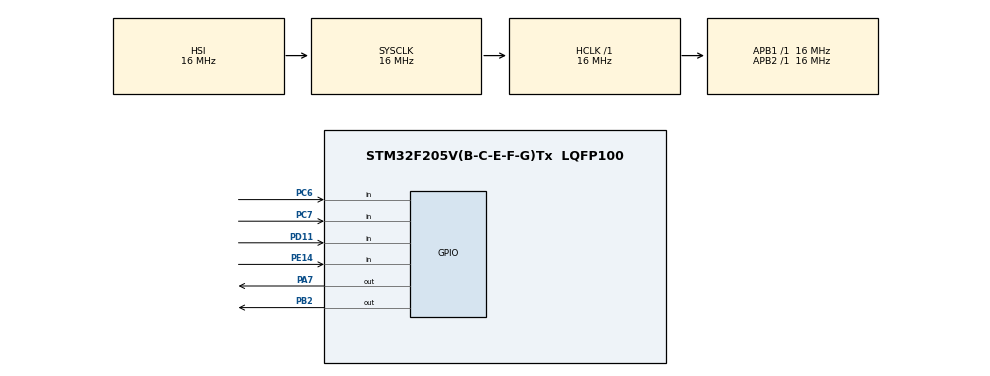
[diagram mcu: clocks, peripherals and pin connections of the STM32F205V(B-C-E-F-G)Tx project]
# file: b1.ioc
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Mcu.Family=STM32F2
Mcu.Name=STM32F205V(B-C-E-F-G)Tx
Mcu.Package=LQFP100
NVIC.PriorityGroup=NVIC_PRIORITYGROUP_4
PA13.Mode=Serial_Wire
PA13.Signal=SYS_JTMS-SWDIO
PA14.Mode=Serial_Wire
PA14.Signal=SYS_JTCK-SWCLK
PA7.Signal=GPIO_Output
PB2.Signal=GPIO_Output
PC6.Signal=GPIO_Input
PC7.Signal=GPIO_Input
PD11.Signal=GPIO_Input
PE14.Signal=GPIO_Input
ProjectManager.HeapSize=0x200
ProjectManager.StackSize=0x400
ProjectManager.TargetToolchain=MDK-ARM V5.32
RCC.48MHZClocksFreq_Value=48000000
RCC.AHBFreq_Value=16000000
RCC.APB1Freq_Value=16000000
RCC.APB2Freq_Value=16000000
RCC.CortexFreq_Value=16000000
RCC.HSE_VALUE=25000000
RCC.HSI_VALUE=16000000
RCC.LSE_VALUE=32768
RCC.SYSCLKFreq_VALUE=16000000
RCC.VCOOutputFreq_Value=192000000
board=custom

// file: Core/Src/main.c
/* USER CODE BEGIN Header */
/**
  ******************************************************************************
  * @file           : main.c
  * @brief          : Main program body
  ******************************************************************************
  * @attention
  *
  * Copyright (c) 2023 STMicroelectronics.
  * All rights reserved.
  *
  * This software is licensed under terms that can be found in the LICENSE file
  * in the root directory of this software component.
  * If no LICENSE file comes with this software, it is provided AS-IS.
  *
  ******************************************************************************
  */
/* USER CODE END Header */
#include "main.h"

void SystemClock_Config(void);
static void MX_GPIO_Init(void);

int main(void)
{

  /* MCU Configuration--------------------------------------------------------*/

  /* Reset of all peripherals, Initializes the Flash interface and the Systick. */
  HAL_Init();

  /* Configure the system clock */
  SystemClock_Config();

  /* Initialize all configured peripherals */
  MX_GPIO_Init();
  /* USER CODE BEGIN 2 */
	int sysState2 = 0;
	int cntDelay = 0;
	unsigned int sysState = 0;
	HAL_GPIO_WritePin(GPIOA,GPIO_PIN_7,GPIO_PIN_SET);
	HAL_GPIO_WritePin(GPIOB,GPIO_PIN_2,GPIO_PIN_SET);
  /* USER CODE END 2 */

  /* Infinite loop */
  while (1)
  {

    /* USER CODE BEGIN 3 */
		// state control
		/*
		if(sysState == 0 && (HAL_GPIO_ReadPin(GPIOD,GPIO_PIN_11)) == GPIO_PIN_RESET){
			sysState = 1;
		}
		if(sysState == 1 && (HAL_GPIO_ReadPin(GPIOD,GPIO_PIN_11)) == GPIO_PIN_SET){
			sysState = 2;
		}
		if(sysState == 2 && (HAL_GPIO_ReadPin(GPIOD,GPIO_PIN_11)) == GPIO_PIN_RESET){
			sysState = 3;
		}
		if(sysState == 3 && (HAL_GPIO_ReadPin(GPIOD,GPIO_PIN_11)) == GPIO_PIN_SET){
			sysState = 4;
		}
		if(sysState == 4 && (HAL_GPIO_ReadPin(GPIOD,GPIO_PIN_11)) == GPIO_PIN_RESET){
			sysState = 1;	}

		if(sysState == 1){
			if(cntDelay <500)  HAL_GPIO_WritePin(GPIOA,GPIO_PIN_7,GPIO_PIN_RESET);
			else if(cntDelay <1000) HAL_GPIO_WritePin(GPIOA,GPIO_PIN_7,GPIO_PIN_SET);
			else{
				cntDelay = 0;
			}
			HAL_Delay(1);
			cntDelay++;
		}
		if(sysState == 2){
			if(cntDelay <500)  HAL_GPIO_WritePin(GPIOA,GPIO_PIN_7,GPIO_PIN_RESET);
			else if(cntDelay <1000) HAL_GPIO_WritePin(GPIOA,GPIO_PIN_7,GPIO_PIN_SET);
			else{
				cntDelay = 0;
			}
			HAL_Delay(1);
			cntDelay++;
		}
		if(sysState == 3){
			  HAL_GPIO_WritePin(GPIOA,GPIO_PIN_7,GPIO_PIN_SET);
		}
		if(sysState == 4){
			  HAL_GPIO_WritePin(GPIOA,GPIO_PIN_7,GPIO_PIN_SET);
				cntDelay = 0;
		}

		*/
		/*
		if(sysState == 0 && (HAL_GPIO_ReadPin(GPIOD,GPIO_PIN_11)) == GPIO_PIN_RESET){
			sysState = 1;
		}
		if(sysState == 1 && (HAL_GPIO_ReadPin(GPIOD,GPIO_PIN_11)) == GPIO_PIN_SET){
			sysState = 2;
		}
		if(sysState == 2 && (HAL_GPIO_ReadPin(GPIOD,GPIO_PIN_11)) == GPIO_PIN_RESET){
			sysState = 3;
		}
		if(sysState == 3 && (HAL_GPIO_ReadPin(GPIOD,GPIO_PIN_11)) == GPIO_PIN_SET){
			sysState = 1;
		}

		if(sysState2 == 0 && (HAL_GPIO_ReadPin(GPIOC,GPIO_PIN_6)) == GPIO_PIN_RESET){
			sysState2 = 1;
		}
		if(sysState2 == 1 && (HAL_GPIO_ReadPin(GPIOC,GPIO_PIN_6)) == GPIO_PIN_SET){
			sysState2 = 2;
		}
		if(sysState2 == 2 && (HAL_GPIO_ReadPin(GPIOC,GPIO_PIN_6)) == GPIO_PIN_RESET){
			sysState2 = 3;
		}
		if(sysState2 == 3 && (HAL_GPIO_ReadPin(GPIOC,GPIO_PIN_6)) == GPIO_PIN_SET){
			sysState2 = 1;
		}

		if(sysState == 1 || sysState2 == 1 || sysState2 == 3 || sysState == 3){
			 HAL_GPIO_TogglePin(GPIOA,GPIO_PIN_7);
			HAL_Delay(50);
		}

			*/
			/*
		if(sysState == 0 && (HAL_GPIO_ReadPin(GPIOD,GPIO_PIN_11)) == GPIO_PIN_RESET){
			sysState = 1;
		}
		if(sysState == 1 && (HAL_GPIO_ReadPin(GPIOD,GPIO_PIN_11)) == GPIO_PIN_SET){
			sysState = 2;
		}
		if(sysState == 2 && (HAL_GPIO_ReadPin(GPIOD,GPIO_PIN_11)) == GPIO_PIN_RESET){
			sysState = 3;
		}
		if(sysState == 3 && (HAL_GPIO_ReadPin(GPIOD,GPIO_PIN_11)) == GPIO_PIN_SET){
			sysState = 4;
		}
		if(sysState == 4 && (HAL_GPIO_ReadPin(GPIOD,GPIO_PIN_11)) == GPIO_PIN_RESET){
			sysState = 5;
		}
		if(sysState == 5 && (HAL_GPIO_ReadPin(GPIOD,GPIO_PIN_11)) == GPIO_PIN_SET){
			sysState = 6;
		}
		if(sysState == 6 && (HAL_GPIO_ReadPin(GPIOD,GPIO_PIN_11)) == GPIO_PIN_RESET){
			sysState = 1;
		}

		if(sysState == 1){
			if(cntDelay <500)  HAL_GPIO_WritePin(GPIOA,GPIO_PIN_7,GPIO_PIN_RESET);
			else if(cntDelay <1000) HAL_GPIO_WritePin(GPIOA,GPIO_PIN_7,GPIO_PIN_SET);
			else{
				cntDelay = 0;
			}
			HAL_Delay(1);
			cntDelay++;
		}
		if(sysState == 2){
			if(cntDelay <500)  HAL_GPIO_WritePin(GPIOA,GPIO_PIN_7,GPIO_PIN_RESET);
			else if(cntDelay <1000) HAL_GPIO_WritePin(GPIOA,GPIO_PIN_7,GPIO_PIN_SET);
			else{
				cntDelay = 0;
			}
			HAL_Delay(1);
			cntDelay++;
		}
		if(sysState == 3){
			  HAL_GPIO_WritePin(GPIOA,GPIO_PIN_7,GPIO_PIN_RESET);
		}
		if(sysState == 4){
			  HAL_GPIO_WritePin(GPIOA,GPIO_PIN_7,GPIO_PIN_RESET);
		}
		if(sysState == 5){
			  HAL_GPIO_WritePin(GPIOA,GPIO_PIN_7,GPIO_PIN_SET);
		}
		if(sysState == 6 ){
			  HAL_GPIO_WritePin(GPIOA,GPIO_PIN_7,GPIO_PIN_SET);
				cntDelay = 0;
		}
		*/
		if(sysState == 0 && (HAL_GPIO_ReadPin(GPIOD,GPIO_PIN_11)) == GPIO_PIN_RESET){
			sysState = 1;
		}
		if(sysState == 1 && (HAL_GPIO_ReadPin(GPIOD,GPIO_PIN_11)) == GPIO_PIN_SET){
			sysState = 2;
		}
		if(sysState == 2 && (HAL_GPIO_ReadPin(GPIOD,GPIO_PIN_11)) == GPIO_PIN_RESET){
			sysState = 3;
		}
		if(sysState == 3 && (HAL_GPIO_ReadPin(GPIOD,GPIO_PIN_11)) == GPIO_PIN_SET){
			sysState = 4;
		}
		if(sysState == 4 && (HAL_GPIO_ReadPin(GPIOD,GPIO_PIN_11)) == GPIO_PIN_RESET){
			sysState = 1; }

		if(sysState == 1){
			HAL_GPIO_WritePin(GPIOA,GPIO_PIN_7,GPIO_PIN_RESET);
		}
		//if(sysState == 2){
		//	HAL_GPIO_WritePin(GPIOA,GPIO_PIN_7,GPIO_PIN_RESET);
		//}
		while(sysState == 2){
			  HAL_GPIO_WritePin(GPIOA,GPIO_PIN_7,GPIO_PIN_RESET);
				HAL_Delay(3000);
				break;
		}
		HAL_GPIO_WritePin(GPIOA,GPIO_PIN_7,GPIO_PIN_SET);

	}
  /* USER CODE END 3 */
}

void SystemClock_Config(void)
{
  RCC_OscInitTypeDef RCC_OscInitStruct = {0};
  RCC_ClkInitTypeDef RCC_ClkInitStruct = {0};

  /** Initializes the RCC Oscillators according to the specified parameters
  * in the RCC_OscInitTypeDef structure.
  */
  RCC_OscInitStruct.OscillatorType = RCC_OSCILLATORTYPE_HSI;
  RCC_OscInitStruct.HSIState = RCC_HSI_ON;
  RCC_OscInitStruct.HSICalibrationValue = RCC_HSICALIBRATION_DEFAULT;
  RCC_OscInitStruct.PLL.PLLState = RCC_PLL_NONE;
  if (HAL_RCC_OscConfig(&RCC_OscInitStruct) != HAL_OK)
  {
    Error_Handler();
  }

  /** Initializes the CPU, AHB and APB buses clocks
  */
  RCC_ClkInitStruct.ClockType = RCC_CLOCKTYPE_HCLK|RCC_CLOCKTYPE_SYSCLK
                              |RCC_CLOCKTYPE_PCLK1|RCC_CLOCKTYPE_PCLK2;
  RCC_ClkInitStruct.SYSCLKSource = RCC_SYSCLKSOURCE_HSI;
  RCC_ClkInitStruct.AHBCLKDivider = RCC_SYSCLK_DIV1;
  RCC_ClkInitStruct.APB1CLKDivider = RCC_HCLK_DIV1;
  RCC_ClkInitStruct.APB2CLKDivider = RCC_HCLK_DIV1;

  if (HAL_RCC_ClockConfig(&RCC_ClkInitStruct, FLASH_LATENCY_0) != HAL_OK)
  {
    Error_Handler();
  }
}

static void MX_GPIO_Init(void)
{
  GPIO_InitTypeDef GPIO_InitStruct = {0};

  /* GPIO Ports Clock Enable */
  __HAL_RCC_GPIOE_CLK_ENABLE();
  __HAL_RCC_GPIOC_CLK_ENABLE();
  __HAL_RCC_GPIOH_CLK_ENABLE();
  __HAL_RCC_GPIOA_CLK_ENABLE();
  __HAL_RCC_GPIOB_CLK_ENABLE();
  __HAL_RCC_GPIOD_CLK_ENABLE();

  /*Configure GPIO pin Output Level */
  HAL_GPIO_WritePin(GPIOA, GPIO_PIN_7, GPIO_PIN_RESET);

  /*Configure GPIO pin Output Level */
  HAL_GPIO_WritePin(GPIOB, GPIO_PIN_2, GPIO_PIN_RESET);

  /*Configure GPIO pins : PE2 PE3 PE4 PE5
                           PE6 PE7 PE8 PE9
                           PE10 PE11 PE12 PE13
                           PE15 PE0 PE1 */
  GPIO_InitStruct.Pin = GPIO_PIN_2|GPIO_PIN_3|GPIO_PIN_4|GPIO_PIN_5
                          |GPIO_PIN_6|GPIO_PIN_7|GPIO_PIN_8|GPIO_PIN_9
                          |GPIO_PIN_10|GPIO_PIN_11|GPIO_PIN_12|GPIO_PIN_13
                          |GPIO_PIN_15|GPIO_PIN_0|GPIO_PIN_1;
  GPIO_InitStruct.Mode = GPIO_MODE_ANALOG;
  GPIO_InitStruct.Pull = GPIO_NOPULL;
  HAL_GPIO_Init(GPIOE, &GPIO_InitStruct);

  /*Configure GPIO pins : PC13 PC14 PC15 PC0
                           PC1 PC2 PC3 PC4
                           PC5 PC8 PC9 PC10
                           PC11 PC12 */
  GPIO_InitStruct.Pin = GPIO_PIN_13|GPIO_PIN_14|GPIO_PIN_15|GPIO_PIN_0
                          |GPIO_PIN_1|GPIO_PIN_2|GPIO_PIN_3|GPIO_PIN_4
                          |GPIO_PIN_5|GPIO_PIN_8|GPIO_PIN_9|GPIO_PIN_10
                          |GPIO_PIN_11|GPIO_PIN_12;
  GPIO_InitStruct.Mode = GPIO_MODE_ANALOG;
  GPIO_InitStruct.Pull = GPIO_NOPULL;
  HAL_GPIO_Init(GPIOC, &GPIO_InitStruct);

  /*Configure GPIO pins : PH0 PH1 */
  GPIO_InitStruct.Pin = GPIO_PIN_0|GPIO_PIN_1;
  GPIO_InitStruct.Mode = GPIO_MODE_ANALOG;
  GPIO_InitStruct.Pull = GPIO_NOPULL;
  HAL_GPIO_Init(GPIOH, &GPIO_InitStruct);

  /*Configure GPIO pins : PA0 PA1 PA2 PA3
                           PA4 PA5 PA6 PA8
                           PA9 PA10 PA11 PA12
                           PA15 */
  GPIO_InitStruct.Pin = GPIO_PIN_0|GPIO_PIN_1|GPIO_PIN_2|GPIO_PIN_3
                          |GPIO_PIN_4|GPIO_PIN_5|GPIO_PIN_6|GPIO_PIN_8
                          |GPIO_PIN_9|GPIO_PIN_10|GPIO_PIN_11|GPIO_PIN_12
                          |GPIO_PIN_15;
  GPIO_InitStruct.Mode = GPIO_MODE_ANALOG;
  GPIO_InitStruct.Pull = GPIO_NOPULL;
  HAL_GPIO_Init(GPIOA, &GPIO_InitStruct);

  /*Configure GPIO pin : PA7 */
  GPIO_InitStruct.Pin = GPIO_PIN_7;
  GPIO_InitStruct.Mode = GPIO_MODE_OUTPUT_PP;
  GPIO_InitStruct.Pull = GPIO_NOPULL;
  GPIO_InitStruct.Speed = GPIO_SPEED_FREQ_LOW;
  HAL_GPIO_Init(GPIOA, &GPIO_InitStruct);

  /*Configure GPIO pins : PB0 PB1 PB10 PB11
                           PB12 PB13 PB14 PB15
                           PB3 PB4 PB5 PB6
                           PB7 PB8 PB9 */
  GPIO_InitStruct.Pin = GPIO_PIN_0|GPIO_PIN_1|GPIO_PIN_10|GPIO_PIN_11
                          |GPIO_PIN_12|GPIO_PIN_13|GPIO_PIN_14|GPIO_PIN_15
                          |GPIO_PIN_3|GPIO_PIN_4|GPIO_PIN_5|GPIO_PIN_6
                          |GPIO_PIN_7|GPIO_PIN_8|GPIO_PIN_9;
  GPIO_InitStruct.Mode = GPIO_MODE_ANALOG;
  GPIO_InitStruct.Pull = GPIO_NOPULL;
  HAL_GPIO_Init(GPIOB, &GPIO_InitStruct);

  /*Configure GPIO pin : PB2 */
  GPIO_InitStruct.Pin = GPIO_PIN_2;
  GPIO_InitStruct.Mode = GPIO_MODE_OUTPUT_PP;
  GPIO_InitStruct.Pull = GPIO_NOPULL;
  GPIO_InitStruct.Speed = GPIO_SPEED_FREQ_LOW;
  HAL_GPIO_Init(GPIOB, &GPIO_InitStruct);

  /*Configure GPIO pin : PE14 */
  GPIO_InitStruct.Pin = GPIO_PIN_14;
  GPIO_InitStruct.Mode = GPIO_MODE_INPUT;
  GPIO_InitStruct.Pull = GPIO_NOPULL;
  HAL_GPIO_Init(GPIOE, &GPIO_InitStruct);

  /*Configure GPIO pins : PD8 PD9 PD10 PD12
                           PD13 PD14 PD15 PD0
                           PD1 PD2 PD3 PD4
                           PD5 PD6 PD7 */
  GPIO_InitStruct.Pin = GPIO_PIN_8|GPIO_PIN_9|GPIO_PIN_10|GPIO_PIN_12
                          |GPIO_PIN_13|GPIO_PIN_14|GPIO_PIN_15|GPIO_PIN_0
                          |GPIO_PIN_1|GPIO_PIN_2|GPIO_PIN_3|GPIO_PIN_4
                          |GPIO_PIN_5|GPIO_PIN_6|GPIO_PIN_7;
  GPIO_InitStruct.Mode = GPIO_MODE_ANALOG;
  GPIO_InitStruct.Pull = GPIO_NOPULL;
  HAL_GPIO_Init(GPIOD, &GPIO_InitStruct);

  /*Configure GPIO pin : PD11 */
  GPIO_InitStruct.Pin = GPIO_PIN_11;
  GPIO_InitStruct.Mode = GPIO_MODE_INPUT;
  GPIO_InitStruct.Pull = GPIO_NOPULL;
  HAL_GPIO_Init(GPIOD, &GPIO_InitStruct);

  /*Configure GPIO pins : PC6 PC7 */
  GPIO_InitStruct.Pin = GPIO_PIN_6|GPIO_PIN_7;
  GPIO_InitStruct.Mode = GPIO_MODE_INPUT;
  GPIO_InitStruct.Pull = GPIO_NOPULL;
  HAL_GPIO_Init(GPIOC, &GPIO_InitStruct);

}

void Error_Handler(void)
{
  __disable_irq();
  while (1)
  {
  }
}
